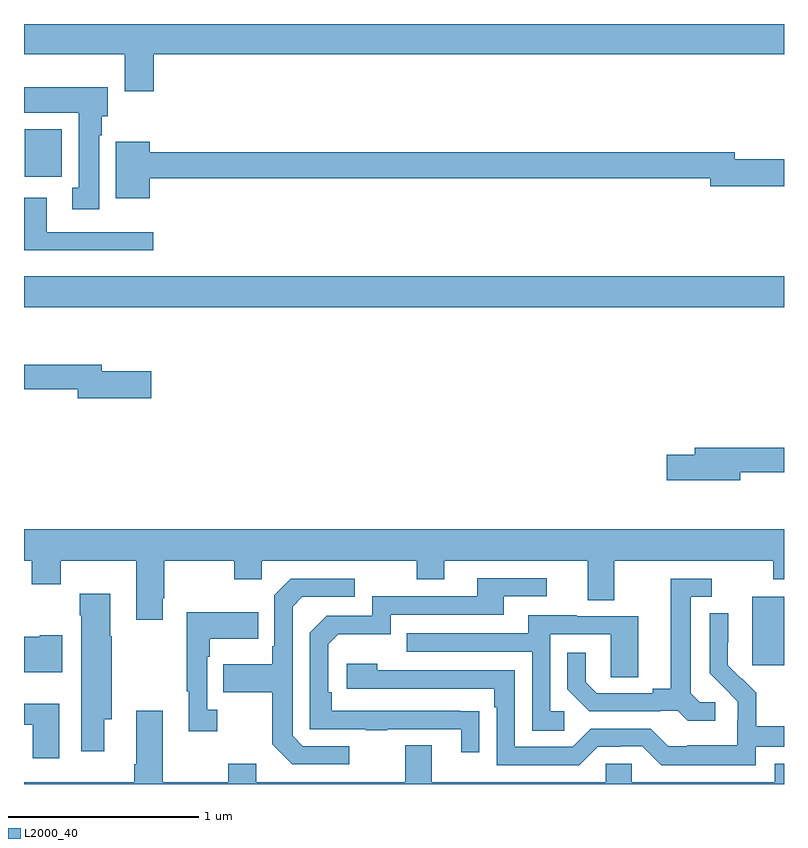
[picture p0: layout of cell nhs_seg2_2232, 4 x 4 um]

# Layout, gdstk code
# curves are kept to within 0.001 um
import gdstk
lib = gdstk.Library(unit=1e-6, precision=1e-09)
def R(c, l, rs):  # rectangles x0, y0, x1, y1
    for r in rs: c.add(gdstk.rectangle(r[:2], r[2:], *l))
def P(c, l, *ps):  # polygons
    for p in ps: c.add(gdstk.Polygon(p, *l))
L2000_40 = (2000, 40)

nhs_seg2_2232 = lib.new_cell('nhs_seg2_2232')
R(nhs_seg2_2232, L2000_40, [(230.834,640.425,231,640.786), (227,642.308,231,642.472), (227.003,642.996,227.199,643.246)])
P(nhs_seg2_2232, L2000_40, [(227.684,643.64),(231,643.64),(231,643.8),(227,643.8),(227,643.64),(227.531,643.64),(227.531,643.446),(227.684,643.446)],
  [(227.395,643.214),(227.41,643.214),(227.41,643.314),(227.44,643.314),(227.44,643.468),(227,643.468),(227,643.334),(227.288,643.334),(227.288,642.937),(227.255,642.937),(227.255,642.825),(227.395,642.825)],
  [(227.662,642.988),(230.612,642.988),(230.612,642.946),(231,642.946),(231,643.088),(230.74,643.088),(230.74,643.124),(227.662,643.124),(227.662,643.18),(227.483,643.18),(227.483,642.884),(227.662,642.884)],
  [(227.68,642.705),(227.119,642.705),(227.119,642.886),(227,642.886),(227,642.608),(227.68,642.608)],
  [(227.671,641.973),(227.41,641.973),(227.41,642.007),(227,642.007),(227,641.878),(227.282,641.878),(227.282,641.831),(227.671,641.831)],
  [(230.77,641.442),(231,641.442),(231,641.57),(230.531,641.57),(230.531,641.534),(230.382,641.534),(230.382,641.399),(230.77,641.399)],
  [(227.731,640.777),(227.739,640.777),(227.739,640.976),(228.106,640.976),(228.106,640.877),(228.252,640.877),(228.252,640.976),(229.066,640.976),(229.066,640.877),(229.213,640.877),(229.213,640.976),(229.967,640.976),(229.967,640.768),(230.107,640.768),(230.107,640.976),(230.944,640.976),(230.944,640.877),(231,640.877),(231,641.14),(227,641.14),(227,640.976),(227.041,640.976),(227.041,640.852),(227.193,640.852),(227.193,640.976),(227.591,640.976),(227.591,640.665),(227.731,640.665)],
  [(229.397,640.184),(228.62,640.185),(228.62,640.282),(228.6,640.282),(228.6,640.536),(228.653,640.589),(228.93,640.589),(228.93,640.692),(229.525,640.692),(229.525,640.788),(229.75,640.788),(229.75,640.884),(229.385,640.884),(229.385,640.788),(228.834,640.788),(228.834,640.686),(228.594,640.686),(228.504,640.596),(228.504,640.089),(228.799,640.089),(228.799,640.084),(228.911,640.084),(228.911,640.089),(229.301,640.089),(229.301,639.966),(229.397,639.966)],
  [(228.712,639.999),(228.468,639.999),(228.414,640.053),(228.414,640.734),(228.465,640.785),(228.742,640.785),(228.742,640.881),(228.405,640.881),(228.318,640.794),(228.318,640.525),(228.306,640.525),(228.306,640.429),(228.049,640.429),(228.049,640.282),(228.306,640.282),(228.306,640.009),(228.411,639.903),(228.712,639.903)],
  [(230.638,640.23),(230.556,640.23),(230.509,640.277),(230.509,640.785),(230.62,640.785),(230.62,640.881),(230.405,640.881),(230.405,640.301),(230.309,640.301),(230.309,640.278),(230.014,640.278),(229.957,640.335),(229.957,640.492),(229.86,640.492),(229.86,640.298),(229.976,640.182),(230.348,640.182),(230.348,640.185),(230.442,640.185),(230.494,640.133),(230.638,640.133)],
  [(227.422,640.142),(227.463,640.142),(227.463,640.577),(227.455,640.577),(227.455,640.801),(227.293,640.801),(227.293,640.688),(227.3,640.688),(227.3,639.972),(227.422,639.972)],
  [(228.016,640.19),(227.964,640.19),(227.964,640.469),(227.977,640.469),(227.977,640.565),(228.233,640.565),(228.233,640.705),(227.856,640.705),(227.856,640.289),(227.867,640.289),(227.867,640.077),(228.016,640.077)],
  [(230.85,639.996),(231,639.996),(231,640.105),(230.855,640.105),(230.855,640.279),(230.778,640.356),(230.775,640.353),(230.705,640.424),(230.706,640.7),(230.61,640.7),(230.61,640.382),(230.756,640.234),(230.756,640.137),(230.754,640.137),(230.754,640.003),(230.491,640.003),(230.491,639.999),(230.391,639.999),(230.298,640.092),(229.983,640.092),(229.887,639.996),(229.584,639.996),(229.584,640.398),(228.86,640.398),(228.86,640.432),(228.699,640.432),(228.699,640.302),(229.475,640.302),(229.475,640.205),(229.488,640.205),(229.488,639.9),(229.923,639.9),(230.019,639.996),(230.138,639.996),(230.138,639.999),(230.253,639.999),(230.353,639.899),(230.85,639.899)],
  [(229.843,640.182),(229.77,640.182),(229.77,640.587),(230.088,640.587),(230.088,640.363),(230.233,640.363),(230.233,640.683),(229.909,640.683),(229.909,640.687),(229.655,640.687),(229.655,640.593),(229.015,640.593),(229.015,640.497),(229.674,640.497),(229.674,640.081),(229.843,640.081)],
  [(227.2,640.582),(227.082,640.582),(227.082,640.576),(227,640.576),(227,640.388),(227.2,640.388)],
  [(227.185,640.222),(227,640.222),(227,640.113),(227.045,640.113),(227.045,639.936),(227.185,639.936)],
  [(231,639.907),(230.951,639.907),(230.951,639.808),(230.199,639.808),(230.199,639.906),(230.061,639.906),(230.061,639.808),(229.147,639.808),(229.147,640.003),(229.007,640.003),(229.007,639.808),(228.223,639.808),(228.223,639.907),(228.076,639.907),(228.076,639.808),(227.731,639.808),(227.731,640.186),(227.591,640.186),(227.591,639.904),(227.579,639.904),(227.579,639.808),(227,639.808),(227,639.8),(231,639.8)])

lib.write_gds('nhs_seg2_2232.gds')
